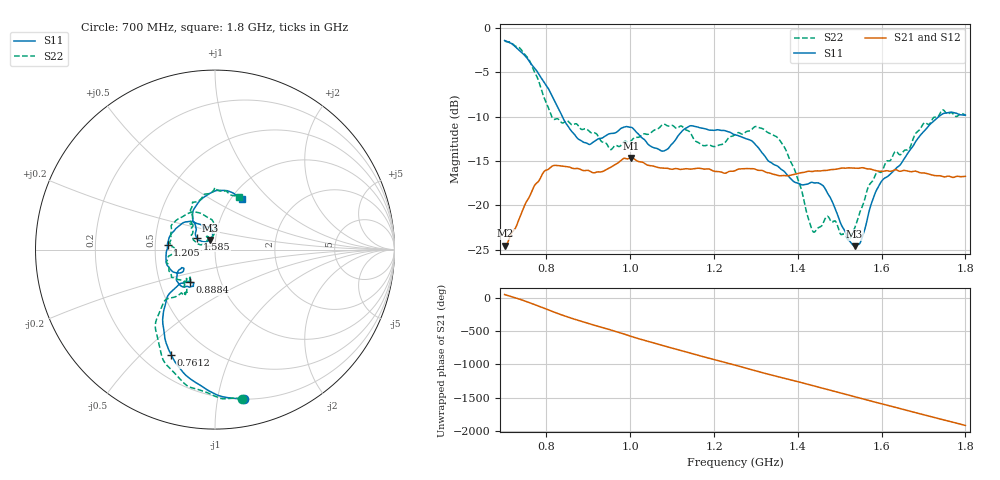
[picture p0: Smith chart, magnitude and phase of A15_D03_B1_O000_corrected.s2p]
! Created with skrf 1.9.0 (http://scikit-rf.org).
# Hz S RI R 50.0
!freq ReS11 ImS11 ReS21 ImS21 ReS12 ImS12 ReS22 ImS22
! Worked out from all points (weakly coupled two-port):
!   1601 points, 700 MHz to 1.8 GHz, reference 50 ohm
!   highest |S21| = -14.64 dB at 1.002 GHz (marker M1); lowest = -24.5 dB at 701.4 MHz (marker M2)
!   lowest |S11| = -24.6 dB at 1.535 GHz (marker M3), VSWR 1.13, Z = 47.2 + j5.02 ohm
!   |S11| at or under -10 dB: 837.9 MHz to 1.736 GHz (898.5 MHz wide, 69.8 % of centre)
!   |S22| runs from -23.9 to -1.5 dB; largest |S21 - S12| = 0.0035
!   S11 on the Smith chart (normalised r, x): 700 MHz: 0.20, -1.19; 761.2 MHz: 0.32, -0.62; 888.4 MHz: 0.71, -0.27; 1.205 GHz: 0.58, +0.03; 1.585 GHz: 0.81, +0.10; 1.8 GHz: 1.12, +0.71
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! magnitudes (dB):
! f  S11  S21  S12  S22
! 700 MHz  -1.4  -24.5  -24.3  -1.5
! 701.4 MHz  -1.5  -24.5  -24.1  -1.5
! 761.2 MHz  -3.9  -18.8  -18.7  -3.9
! 814.8 MHz  -7.8  -15.5  -15.6  -10.2
! 883.6 MHz  -12.7  -16.0  -15.9  -11.4
! 888.4 MHz  -12.9  -16.1  -16.0  -11.4
! 953 MHz  -11.9  -15.7  -15.7  -13.7
! 1.002 GHz  -11.2  -14.6  -14.7  -12.7
! 1.067 GHz  -13.7  -15.7  -15.7  -11.3
! 1.142 GHz  -11.0  -15.9  -15.9  -11.7
! 1.205 GHz  -11.5  -16.2  -16.2  -13.3
! 1.25 GHz  -12.1  -16.1  -16.0  -12.0
! 1.355 GHz  -15.7  -16.6  -16.6  -12.6
! 1.394 GHz  -17.4  -16.5  -16.5  -16.1
! 1.434 GHz  -17.4  -16.2  -16.1  -22.7
! 1.464 GHz  -18.0  -16.1  -16.0  -21.6
! 1.52 GHz  -23.8  -15.8  -15.8  -23.9
! 1.535 GHz  -24.6  -15.8  -15.8  -22.6
! 1.585 GHz  -18.5  -16.1  -16.1  -16.5
! 1.617 GHz  -16.6  -16.1  -16.1  -15.0
! 1.738 GHz  -9.9  -16.6  -16.7  -9.8
! 1.8 GHz  -9.8  -16.7  -16.7  -9.8
